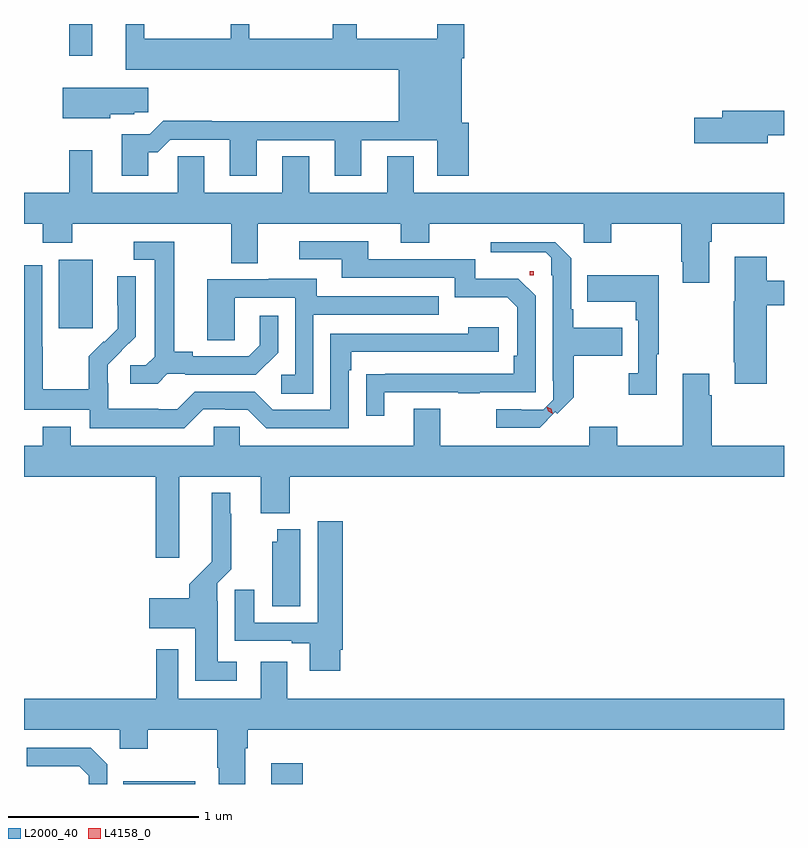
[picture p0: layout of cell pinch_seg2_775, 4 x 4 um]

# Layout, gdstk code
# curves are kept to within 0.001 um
import gdstk
lib = gdstk.Library(unit=1e-6, precision=1e-09)
def R(c, l, rs):  # rectangles x0, y0, x1, y1
    for r in rs: c.add(gdstk.rectangle(r[:2], r[2:], *l))
def P(c, l, *ps):  # polygons
    for p in ps: c.add(gdstk.Polygon(p, *l))
L2000_40 = (2000, 40)
L4158_0 = (4158, 0)

pinch_seg2_775 = lib.new_cell('pinch_seg2_775')
R(pinch_seg2_775, L2000_40, [(731.983,622.043,732.361,622.057), (732.761,622.043,732.929,622.153), (731.645,624.441,731.824,624.802), (731.7,625.875,731.821,626.043)])
P(pinch_seg2_775, L2000_40, [(732.115,625.367),(732.164,625.367),(732.231,625.434),(732.545,625.434),(732.545,625.245),(732.685,625.245),(732.685,625.431),(733.097,625.431),(733.097,625.245),(733.237,625.245),(733.237,625.431),(733.637,625.431),(733.637,625.245),(733.802,625.245),(733.802,625.524),(733.765,625.524),(733.765,625.862),(733.778,625.862),(733.778,626.043),(733.637,626.043),(733.637,625.966),(733.213,625.966),(733.213,626.043),(733.085,626.043),(733.085,625.966),(732.646,625.966),(732.646,626.043),(732.548,626.043),(732.548,625.966),(732.094,625.966),(732.094,626.043),(731.996,626.043),(731.996,625.802),(733.433,625.802),(733.433,625.532),(732.449,625.532),(732.449,625.535),(732.194,625.535),(732.123,625.464),(731.975,625.464),(731.975,625.245),(732.115,625.245)],
  [(731.916,625.568),(732.042,625.568),(732.042,625.579),(732.115,625.579),(732.115,625.708),(731.666,625.708),(731.666,625.547),(731.916,625.547)],
  [(735.376,625.458),(735.461,625.458),(735.461,625.586),(735.137,625.586),(735.137,625.55),(734.988,625.55),(734.988,625.415),(735.376,625.415)],
  [(735.067,624.896),(735.08,624.896),(735.08,624.992),(735.461,624.992),(735.461,625.156),(733.513,625.156),(733.513,625.346),(733.373,625.346),(733.373,625.156),(732.961,625.156),(732.961,625.346),(732.821,625.346),(732.821,625.156),(732.409,625.156),(732.409,625.346),(732.27,625.346),(732.27,625.156),(731.821,625.156),(731.821,625.378),(731.7,625.378),(731.7,625.156),(731.461,625.156),(731.461,624.992),(731.56,624.992),(731.56,624.893),(731.715,624.893),(731.715,624.992),(732.551,624.992),(732.551,624.784),(732.691,624.784),(732.691,624.992),(733.445,624.992),(733.445,624.893),(733.593,624.893),(733.593,624.992),(734.406,624.992),(734.406,624.893),(734.553,624.893),(734.553,624.992),(734.92,624.992),(734.92,624.793),(734.927,624.793),(734.927,624.681),(735.067,624.681)],
  [(733.357,624.105),(733.747,624.105),(733.747,624.1),(733.859,624.1),(733.859,624.105),(734.154,624.105),(734.154,624.612),(734.063,624.703),(733.837,624.703),(733.837,624.804),(733.273,624.804),(733.273,624.9),(732.909,624.9),(732.909,624.804),(733.133,624.804),(733.133,624.708),(733.728,624.708),(733.728,624.605),(734.005,624.605),(734.058,624.552),(734.058,624.298),(734.038,624.298),(734.038,624.201),(733.261,624.2),(733.261,623.982),(733.357,623.982)],
  [(732.216,624.201),(732.31,624.201),(732.31,624.198),(732.682,624.198),(732.798,624.314),(732.798,624.508),(732.701,624.508),(732.701,624.351),(732.644,624.294),(732.349,624.294),(732.349,624.317),(732.253,624.317),(732.253,624.897),(732.039,624.897),(732.039,624.801),(732.149,624.801),(732.149,624.293),(732.102,624.246),(732.021,624.246),(732.021,624.149),(732.164,624.149)],
  [(734.258,624.001),(734.268,623.992),(734.355,624.079),(734.355,624.298),(734.609,624.298),(734.609,624.445),(734.353,624.445),(734.353,624.541),(734.34,624.541),(734.34,624.81),(734.256,624.894),(733.917,624.894),(733.917,624.842),(734.206,624.842),(734.236,624.813),(734.236,624.72),(734.244,624.72),(734.244,624.166),(734.247,624.166),(734.247,624.066),(734.193,624.012),(734.079,624.012),(734.079,624.015),(733.947,624.015),(733.947,623.919),(734.176,623.919)],
  [(735.371,624.562),(735.461,624.562),(735.461,624.691),(735.371,624.691),(735.371,624.817),(735.203,624.817),(735.203,624.585),(735.196,624.585),(735.196,624.262),(735.203,624.262),(735.203,624.15),(735.371,624.15)],
  [(732.405,624.015),(732.521,624.015),(732.521,624.012),(732.639,624.012),(732.735,623.916),(733.17,623.916),(733.17,624.221),(733.183,624.221),(733.183,624.318),(733.96,624.318),(733.96,624.448),(733.799,624.448),(733.799,624.414),(733.074,624.414),(733.074,624.012),(732.771,624.012),(732.675,624.108),(732.36,624.108),(732.267,624.015),(732.167,624.015),(732.167,624.019),(731.904,624.019),(731.904,624.153),(731.902,624.153),(731.902,624.25),(732.048,624.398),(732.048,624.716),(731.952,624.716),(731.952,624.562),(731.954,624.562),(731.954,624.44),(731.883,624.369),(731.88,624.372),(731.803,624.295),(731.803,624.121),(731.559,624.121),(731.559,624.344),(731.556,624.344),(731.556,624.774),(731.461,624.774),(731.461,624.012),(731.808,624.012),(731.808,623.915),(732.305,623.915)],
  [(734.791,624.305),(734.803,624.305),(734.803,624.721),(734.425,624.721),(734.425,624.581),(734.682,624.581),(734.682,624.485),(734.694,624.485),(734.694,624.206),(734.643,624.206),(734.643,624.093),(734.791,624.093)],
  [(732.984,624.513),(733.643,624.513),(733.643,624.609),(733.003,624.609),(733.003,624.703),(732.749,624.703),(732.749,624.699),(732.425,624.699),(732.425,624.379),(732.57,624.379),(732.57,624.603),(732.888,624.603),(732.888,624.198),(732.816,624.198),(732.816,624.097),(732.984,624.097)],
  [(732.277,623.66),(732.707,623.66),(732.707,623.468),(732.86,623.468),(732.86,623.66),(735.461,623.66),(735.461,623.824),(735.08,623.824),(735.08,624.089),(735.067,624.089),(735.067,624.202),(734.927,624.202),(734.927,623.824),(734.583,623.824),(734.583,623.923),(734.435,623.923),(734.435,623.824),(733.651,623.824),(733.651,624.019),(733.511,624.019),(733.511,623.824),(732.597,623.824),(732.597,623.922),(732.459,623.922),(732.459,623.824),(731.707,623.824),(731.707,623.923),(731.56,623.923),(731.56,623.824),(731.461,623.824),(731.461,623.66),(732.155,623.66),(732.155,623.235),(732.277,623.235)],
  [(732.58,622.687),(732.481,622.687),(732.481,623.006),(732.477,623.006),(732.477,623.1),(732.551,623.174),(732.551,623.465),(732.547,623.465),(732.547,623.575),(732.449,623.575),(732.45,623.212),(732.332,623.094),(732.332,623.02),(732.12,623.02),(732.12,622.862),(732.362,622.862),(732.362,622.586),(732.58,622.586)],
  [(733.126,622.75),(733.139,622.75),(733.139,623.425),(733.007,623.425),(733.007,622.893),(732.673,622.893),(732.673,623.065),(732.569,623.065),(732.569,622.797),(732.869,622.797),(732.869,622.785),(732.965,622.785),(732.965,622.638),(733.126,622.638)],
  [(732.916,623.383),(732.794,623.383),(732.794,623.319),(732.767,623.319),(732.767,622.978),(732.916,622.978)],
  [(732.625,622.232),(732.638,622.232),(732.638,622.328),(735.461,622.328),(735.461,622.492),(732.847,622.492),(732.847,622.687),(732.707,622.687),(732.707,622.492),(732.273,622.492),(732.273,622.753),(732.157,622.753),(732.157,622.492),(731.461,622.492),(731.461,622.328),(731.964,622.328),(731.964,622.229),(732.111,622.229),(732.111,622.328),(732.478,622.328),(732.478,622.129),(732.485,622.129),(732.485,622.043),(732.625,622.043)],
  [(731.898,622.146),(731.811,622.233),(731.475,622.233),(731.475,622.137),(731.751,622.137),(731.802,622.086),(731.802,622.043),(731.898,622.043)])
R(pinch_seg2_775, L4158_0, [(734.123,624.721,734.143,624.741)])
P(pinch_seg2_775, L4158_0, [(734.243,623.992),(734.22,624.004),(734.211,624.028),(734.211,624.029),(734.211,624.029),(734.235,624.017),(734.243,623.992),(734.243,623.992)])

lib.write_gds('pinch_seg2_775.gds')
